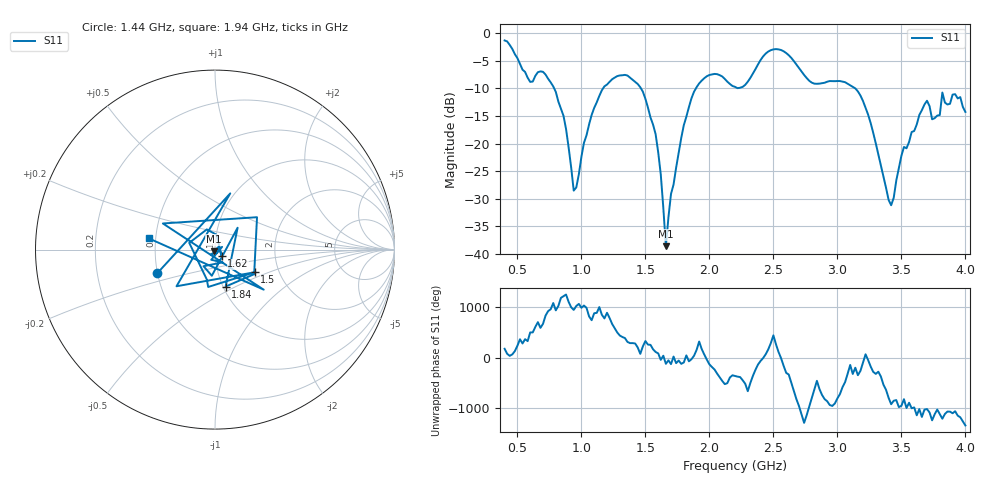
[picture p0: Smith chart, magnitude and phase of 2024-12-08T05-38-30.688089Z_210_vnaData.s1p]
!Created with skrf (http://scikit-rf.org).
# Hz S RI R 50.0
!freq ReS11 ImS11
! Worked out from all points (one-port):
!   181 points, 400 MHz to 4 GHz, reference 50 ohm
!   lowest |S11| = -38.6 dB at 1.66 GHz (marker M1), VSWR 1.02, Z = 49.3 - j0.966 ohm
!   |S11| at or under -10 dB: 787.4 MHz to 1.169 GHz (381.6 MHz wide, 39 % of centre); 1.466 GHz to 1.894 GHz (428.7 MHz wide, 25.5 % of centre); 3.14 GHz to end of sweep
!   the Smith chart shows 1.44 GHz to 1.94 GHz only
!   S11 on the Smith chart (normalised r, x): 1.44 GHz: 0.50, -0.15; 1.5 GHz: 1.50, -0.41; 1.62 GHz: 1.07, -0.08; 1.84 GHz: 1.03, -0.44; 1.94 GHz: 0.46, +0.07
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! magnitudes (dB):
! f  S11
! 400 MHz  -1.3
! 600 MHz  -8.8
! 720 MHz  -7.5
! 860 MHz  -15.0
! 940 MHz  -28.5
! 1.1 GHz  -13.5
! 1.3 GHz  -7.6
! 1.44 GHz  -9.2
! 1.5 GHz  -11.9
! 1.58 GHz  -18.3
! 1.62 GHz  -25.6
! 1.66 GHz  -38.6
! 1.7 GHz  -29.1
! 1.76 GHz  -21.6
! 1.84 GHz  -13.4
! 1.94 GHz  -8.6
! 2.2 GHz  -9.7
! 2.48 GHz  -3.1
! 2.66 GHz  -5.0
! 2.8 GHz  -8.9
! 3.1 GHz  -9.4
! 3.24 GHz  -14.7
! 3.42 GHz  -31.2
! 3.56 GHz  -19.7
! 3.7 GHz  -12.2
! 3.8 GHz  -14.8
! 3.82 GHz  -10.7
! 4 GHz  -14.3
